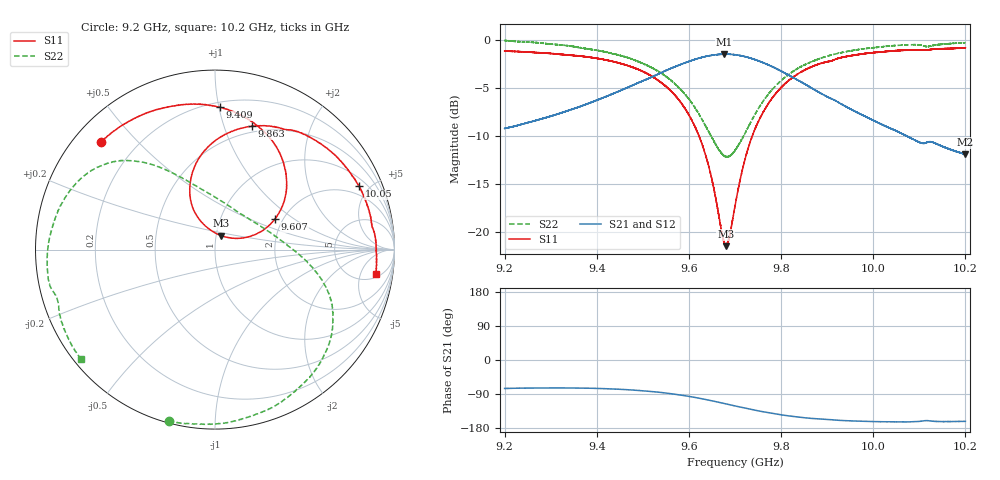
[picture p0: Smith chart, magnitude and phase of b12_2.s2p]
!Agilent Technologies,N5242A,MY51221714,A.09.90.19
!Agilent N5242A: A.09.90.19
!Date: Tuesday, March 26, 2024 16:47:30
!Correction: S11(Full 2 Port(1,2))
!S21(Full 2 Port(1,2))
!S12(Full 2 Port(1,2))
!S22(Full 2 Port(1,2))
!S2P File: Measurements: S11, S21, S12, S22:
# Hz S  dB  R 50
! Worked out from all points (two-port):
!   16001 points, 9.2 GHz to 10.2 GHz, reference 50 ohm
!   highest |S21| = -1.49 dB at 9.676 GHz (marker M1); lowest = -11.9 dB at 10.2 GHz (marker M2)
!   |S21| within 3 dB of the highest: 9.489536 GHz to 9.489587 GHz (51.14 kHz wide, 0.000539 % of centre); 9.49 GHz to 9.847 GHz (356.9 MHz wide, 3.69 % of centre)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
!   lowest |S11| = -21.5 dB at 9.68 GHz (marker M3), VSWR 1.18, Z = 52.8 + j8.21 ohm
!   |S11| at or under -10 dB: 9.622 GHz to 9.738 GHz (116 MHz wide, 1.2 % of centre)
!   |S22| runs from -12.2 to -0.1 dB; largest |S21 - S12| = 0.011
!   S11 on the Smith chart (normalised r, x): 9.2 GHz: 0.08, +0.39; 9.409 GHz: 0.24, +1.01; 9.607 GHz: 1.82, +0.73; 9.863 GHz: 0.44, +1.25; 10.05 GHz: 1.42, +4.30; 10.2 GHz: 6, -9
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9.2e9  -1.18 136.8  -9.25 -75.1  -9.23 -75.8  -0.08 -105.1
9.278812e9  -1.35 119.5  -8.26 -73.8  -8.24 -74.5  -0.34 -83.7
9.366688e9  -1.71 99.0  -6.91 -74.2  -6.90 -74.9  -0.86 -60.9
9.409375e9  -2.01 88.0  -6.12 -75.4  -6.12 -76.1  -1.17 -50.1
9.470188e9  -2.74 71.1  -4.90 -78.7  -4.91 -79.4  -1.92 -35.9
9.533375e9  -4.25 51.5  -3.57 -84.9  -3.56 -85.5  -3.27 -21.6
9.607438e9  -8.50 27.1  -2.14 -97.6  -2.12 -98.2  -6.69 -2.8
9.642062e9  -13.02 20.7  -1.68 -105.7  -1.68 -106.3  -9.49 14.5
9.676e9  -21.02 55.0  -1.49 -114.6  -1.49 -115.2  -12.05 47.9
9.679875e9  -21.51 66.8  -1.51 -115.7  -1.49 -116.2  -12.19 53.0
9.7e9  -17.36 110.8  -1.56 -121.2  -1.55 -121.8  -11.52 78.5
9.726688e9  -11.59 118.0  -1.82 -128.3  -1.81 -129.0  -9.28 102.5
9.758438e9  -7.77 109.4  -2.34 -136.0  -2.33 -136.6  -6.59 117.3
9.812938e9  -4.39 90.3  -3.59 -146.9  -3.59 -147.4  -3.75 130.9
9.863062e9  -2.88 73.3  -4.93 -153.8  -4.94 -154.4  -2.36 140.7
9.866688e9  -2.81 72.2  -5.04 -154.2  -5.05 -154.8  -2.28 141.3
9.934938e9  -1.81 52.1  -6.81 -159.8  -6.81 -160.4  -1.30 155.3
1.003338e10  -1.20 27.0  -9.16 -163.0  -9.15 -163.6  -0.67 177.4
1.004675e10  -1.15 23.8  -9.43 -163.2  -9.43 -163.8  -0.61 -179.6
1.009781e10  -1.04 12.2  -10.64 -162.3  -10.64 -162.8  -0.52 -167.9
1.019981e10  -0.85 -8.8  -11.94 -162.0  -11.93 -162.5  -0.32 -140.9
1.02e10  -0.84 -8.8  -11.92 -162.0  -11.94 -162.5  -0.32 -140.8
